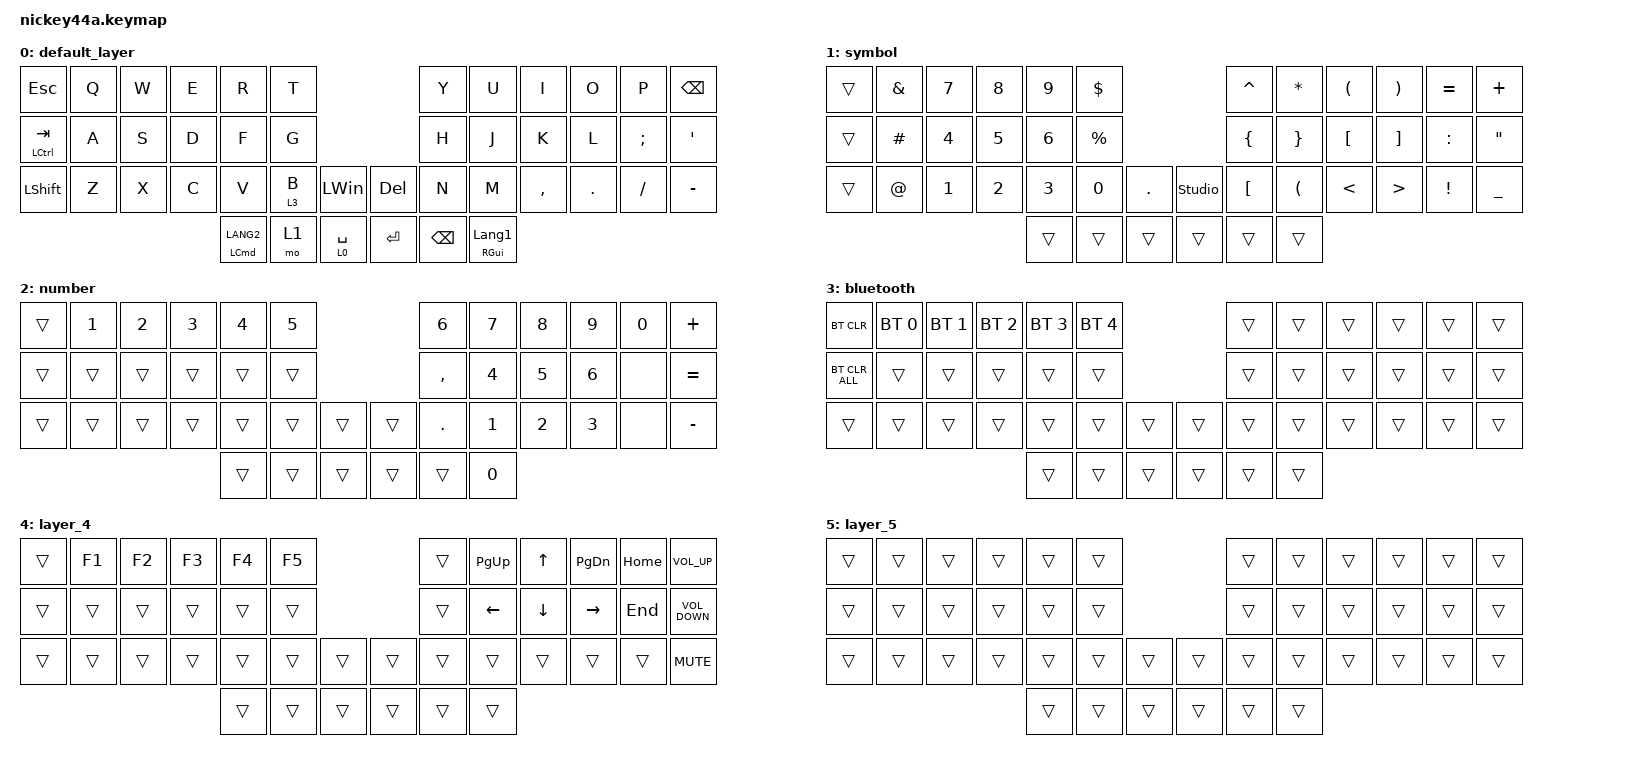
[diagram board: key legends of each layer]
#include <behaviors.dtsi>
#include <behaviors/runtime_macro.dtsi>
#include <dt-bindings/zmk/bt.h>
#include <dt-bindings/zmk/keys.h>

&mt {
    flavor = "balanced";
    quick-tap-ms = <0>;
};

&lt {
    quick-tap-ms = <300>;
    flavor = "balanced";
};

/ {
    combos { compatible = "zmk,combos"; };

    macros {
        to_layer_0: to_layer_0 {
            compatible = "zmk,behavior-macro-one-param";
            #binding-cells = <1>;
            bindings = <&to 0 &macro_param_1to1 &kp MACRO_PLACEHOLDER>;
            label = "TO_LAYER_0";
        };
    };

    behaviors {
        lt_to_layer_0: lt_to_layer_0 {
            compatible = "zmk,behavior-hold-tap";
            label = "LAYER_TAP_TO_0";
            bindings = <&mo>, <&to_layer_0>;

            #binding-cells = <2>;
            tapping-term-ms = <200>;
        };
    };

    keymap {
        compatible = "zmk,keymap";

        default_layer {
            bindings = <
&kp ESC        &kp Q  &kp W  &kp E  &kp R                   &kp T                                &kp Y          &kp U                     &kp I      &kp O    &kp P     &kp BACKSPACE
&mt LCTRL TAB  &kp A  &kp S  &kp D  &kp F                   &kp G                                &kp H          &kp J                     &kp K      &kp L    &kp SEMI  &kp SINGLE_QUOTE
&kp LSHFT      &kp Z  &kp X  &kp C  &kp V                   &lt 3 B  &kp LEFT_WIN    &kp DELETE  &kp N          &kp M                     &kp COMMA  &kp DOT  &kp FSLH  &kp MINUS
                                    &mt LEFT_COMMAND LANG2  &mo 1    &lt 0 SPACE     &kp ENTER   &kp BACKSPACE  &mt RIGHT_GUI LANGUAGE_1
            >;
        };

        symbol {
            bindings = <
&trans  &kp AMPERSAND  &kp N7        &kp N8        &kp N9        &kp DOLLAR                                 &kp CARET         &kp ASTERISK          &kp LEFT_PARENTHESIS  &kp RIGHT_PARENTHESIS  &kp EQUAL        &kp PLUS
&trans  &kp HASH       &kp NUMBER_4  &kp N5        &kp NUMBER_6  &kp PERCENT                                &kp LEFT_BRACE    &kp RIGHT_BRACE       &kp LEFT_BRACKET      &kp RIGHT_BRACKET      &kp COLON        &kp DOUBLE_QUOTES
&trans  &kp AT_SIGN    &kp NUMBER_1  &kp NUMBER_2  &kp NUMBER_3  &kp N0       &kp PERIOD    &studio_unlock  &kp LEFT_BRACKET  &kp LEFT_PARENTHESIS  &kp LESS_THAN         &kp GREATER_THAN       &kp EXCLAMATION  &kp UNDERSCORE
                                                   &trans        &trans       &trans        &trans          &trans            &trans
            >;
        };

        number {
            bindings = <
&trans  &kp NUMBER_1  &kp NUMBER_2  &kp NUMBER_3  &kp NUMBER_4  &kp NUMBER_5                    &kp NUMBER_6  &kp NUMBER_7  &kp NUMBER_8  &kp NUMBER_9  &kp NUMBER_0  &kp PLUS
&trans  &trans        &trans        &trans        &trans        &trans                          &kp COMMA     &kp NUMBER_4  &kp NUMBER_5  &kp NUMBER_6  &none         &kp EQUAL
&trans  &trans        &trans        &trans        &trans        &trans        &trans    &trans  &kp PERIOD    &kp NUMBER_1  &kp NUMBER_2  &kp NUMBER_3  &none         &kp MINUS
                                                  &trans        &trans        &trans    &trans  &trans        &kp N0
            >;
        };

        bluetooth {
            bindings = <
&bt BT_CLR      &bt BT_SEL 0  &bt BT_SEL 1  &bt BT_SEL 2  &bt BT_SEL 3  &bt BT_SEL 4                    &trans  &trans  &trans  &trans  &trans  &trans
&bt BT_CLR_ALL  &trans        &trans        &trans        &trans        &trans                          &trans  &trans  &trans  &trans  &trans  &trans
&trans          &trans        &trans        &trans        &trans        &trans        &trans    &trans  &trans  &trans  &trans  &trans  &trans  &trans
                                                          &trans        &trans        &trans    &trans  &trans  &trans
            >;
        };

        layer_4 {
            bindings = <
&trans  &kp F1  &kp F2  &kp F3  &kp F4  &kp F5                    &trans  &kp PAGE_UP  &kp UP    &kp PAGE_DOWN  &kp HOME  &kp C_VOLUME_UP
&trans  &trans  &trans  &trans  &trans  &trans                    &trans  &kp LEFT     &kp DOWN  &kp RIGHT      &kp END   &kp C_VOLUME_DOWN
&trans  &trans  &trans  &trans  &trans  &trans  &trans    &trans  &trans  &trans       &trans    &trans         &trans    &kp K_MUTE
                                &trans  &trans  &trans    &trans  &trans  &trans
            >;
        };

        layer_5 {
            bindings = <
&trans  &trans  &trans  &trans  &trans  &trans                    &trans  &trans  &trans  &trans  &trans  &trans
&trans  &trans  &trans  &trans  &trans  &trans                    &trans  &trans  &trans  &trans  &trans  &trans
&trans  &trans  &trans  &trans  &trans  &trans  &trans    &trans  &trans  &trans  &trans  &trans  &trans  &trans
                                &trans  &trans  &trans    &trans  &trans  &trans
            >;
        };
    };
};
